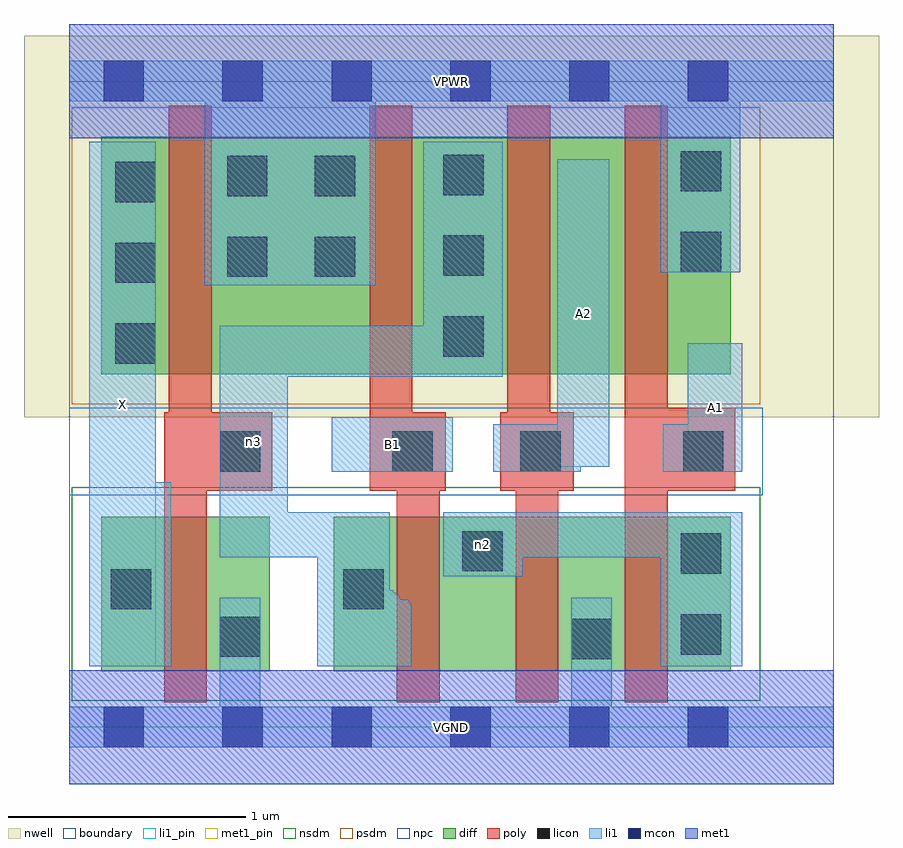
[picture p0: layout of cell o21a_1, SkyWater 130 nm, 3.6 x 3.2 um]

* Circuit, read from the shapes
.subckt o21a_1 A1 A2 B1 VGND VPWR X n2 n3
XM1 VGND n3 X VSUBS sky130_fd_pr__nfet_01v8 w=0.65 l=0.18
XM2 n2 B1 n3 VSUBS sky130_fd_pr__nfet_01v8 w=0.65 l=0.18
XM3 VGND A2 n2 VSUBS sky130_fd_pr__nfet_01v8 w=0.65 l=0.18
XM4 n2 A1 VGND VSUBS sky130_fd_pr__nfet_01v8 w=0.65 l=0.18
XM5 VPWR n3 X n1 sky130_fd_pr__pfet_01v8 w=1 l=0.18
XM6 n3 B1 VPWR n1 sky130_fd_pr__pfet_01v8 w=1 l=0.18
XM7 n4 A2 n3 n1 sky130_fd_pr__pfet_01v8 w=1 l=0.18
XM8 VPWR A1 n4 n1 sky130_fd_pr__pfet_01v8 w=1 l=0.18
.ends

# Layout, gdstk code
import gdstk
lib = gdstk.Library(unit=1e-6, precision=1e-09)
def R(c, l, rs):  # rectangles x0, y0, x1, y1
    for r in rs: c.add(gdstk.rectangle(r[:2], r[2:], *l))
def A(c, l, x, y, w, h, nx, ny, dx, dy):  # array of equal rectangles
    R(c, l, [(x+i*dx, y+j*dy, x+i*dx+w, y+j*dy+h) for i in range(nx) for j in range(ny)])
nwell = (64, 20)
diff = (65, 20)
poly = (66, 20)
licon = (66, 44)
li1_pin = (67, 16)
li1 = (67, 20)
mcon = (67, 44)
met1_pin = (68, 16)
met1 = (68, 20)
nsdm = (93, 44)
psdm = (94, 20)
npc = (95, 20)
boundary = (235, 4)

o21a_1 = lib.new_cell('o21a_1')
R(o21a_1, nwell, [(-0.19,1.305,3.41,2.91), (0,1.305,3.22,2.91)])
R(o21a_1, diff, [(0.135,0.235,0.845,0.885), (1.115,0.235,2.785,0.885), (0.135,1.485,2.785,2.485)])
R(o21a_1, poly, [(0.4,0.105,0.58,1.325), (1.38,0.105,1.56,1.325), (1.88,0.105,2.06,1.325), (2.34,0.105,2.52,2.615), (0.4,0.995,0.855,1.325), (0.42,0.995,0.6,2.615), (1.265,0.995,1.445,2.615), (1.265,0.995,1.585,1.325), (1.815,0.995,2.125,1.325), (1.845,0.995,2.025,2.615), (2.34,0.995,2.805,1.345)])
A(o21a_1, licon, 0.195, 1.53, 0.17, 0.17, 1, 3, 0, 0.34)
A(o21a_1, licon, 1.575, 1.56, 0.17, 0.17, 1, 3, 0, 0.34)
R(o21a_1, licon, [(2.115,0.285,2.285,0.455), (0.635,0.295,0.805,0.465), (2.575,0.305,2.745,0.475), (0.175,0.495,0.345,0.665), (1.155,0.495,1.325,0.665), (2.575,0.645,2.745,0.815), (1.655,0.655,1.825,0.825), (0.635,1.075,0.805,1.245), (1.36,1.075,1.53,1.245), (1.9,1.075,2.07,1.245), (2.585,1.075,2.755,1.245), (0.665,1.895,0.835,2.065), (1.035,1.895,1.205,2.065), (2.575,1.915,2.745,2.085), (0.665,2.235,0.835,2.405), (1.035,2.235,1.205,2.405), (2.575,2.255,2.745,2.425)])
R(o21a_1, li1_pin, [(0.085,0.255,0.365,2.465), (1.105,1.075,1.615,1.305), (2.605,1.075,2.835,1.615), (2.055,1.095,2.275,2.39)])
R(o21a_1, li1, [(0,-0.085,3.22,0.085), (0.635,-0.085,0.805,0.545), (2.115,-0.085,2.285,0.545), (0.085,0.255,0.365,2.465), (0.085,0.255,0.43,1.03), (1.045,0.255,1.35,0.905), (1.045,0.255,1.44,0.52), (1.045,0.255,1.385,0.555), (1.045,0.255,1.365,0.575), (1.045,0.255,1.43,0.535), (1.045,0.255,1.375,0.565), (1.045,0.255,1.39,0.55), (1.045,0.255,1.395,0.54), (1.045,0.255,1.435,0.525), (2.49,0.255,2.835,0.905), (1.575,0.635,1.91,0.905), (0.635,0.715,0.92,1.69), (0.635,0.715,1.35,0.905), (1.575,0.715,2.835,0.905), (1.105,1.075,1.615,1.305), (1.785,1.075,2.155,1.275), (2.5,1.075,2.835,1.275), (2.605,1.075,2.835,1.615), (2.055,1.095,2.275,2.39), (0.635,1.475,1.825,1.69), (1.49,1.475,1.825,2.465), (0.57,1.86,1.29,2.805), (2.49,1.915,2.825,2.805), (0,2.635,3.22,2.805)])
A(o21a_1, mcon, 1.105, -0.085, 0.17, 0.17, 4, 2, 0.5, 2.72)
R(o21a_1, mcon, [(0.145,-0.085,0.315,0.085), (0.645,-0.085,0.815,0.085), (0.145,2.635,0.315,2.805), (0.645,2.635,0.815,2.805)])
R(o21a_1, met1_pin, [(0,-0.24,3.22,0.24), (0,2.48,3.22,2.96)])
R(o21a_1, met1, [(0,-0.24,3.22,0.24), (0,2.48,3.22,2.96)])
R(o21a_1, nsdm, [(0.01,0.11,2.91,1.01)])
R(o21a_1, psdm, [(0.01,1.36,2.91,2.61)])
R(o21a_1, npc, [(0,0.975,2.92,1.345)])
R(o21a_1, boundary, [(0,0,3.22,2.72)])
o21a_1.add(gdstk.Label('A1', (2.72,1.345), layer=67, texttype=5))
o21a_1.add(gdstk.Label('A2', (2.165,1.742), layer=67, texttype=5))
o21a_1.add(gdstk.Label('B1', (1.36,1.19), layer=67, texttype=5))
o21a_1.add(gdstk.Label('X', (0.225,1.36), layer=67, texttype=5))
o21a_1.add(gdstk.Label('n2', (1.742,0.77), layer=67, texttype=5))
o21a_1.add(gdstk.Label('n3', (0.777,1.202), layer=67, texttype=5))
o21a_1.add(gdstk.Label('VPWR', (1.61,2.72), layer=68, texttype=5))
o21a_1.add(gdstk.Label('VGND', (1.61,0), layer=68, texttype=5))
o21a_1.add(gdstk.Label('A1', (2.72,1.345), layer=67, texttype=16))
o21a_1.add(gdstk.Label('A2', (2.165,1.742), layer=67, texttype=16))
o21a_1.add(gdstk.Label('B1', (1.36,1.19), layer=67, texttype=16))
o21a_1.add(gdstk.Label('X', (0.225,1.36), layer=67, texttype=16))
o21a_1.add(gdstk.Label('VPWR', (1.61,2.72), layer=68, texttype=16))
o21a_1.add(gdstk.Label('VGND', (1.61,0), layer=68, texttype=16))

lib.write_gds('o21a_1.gds')
